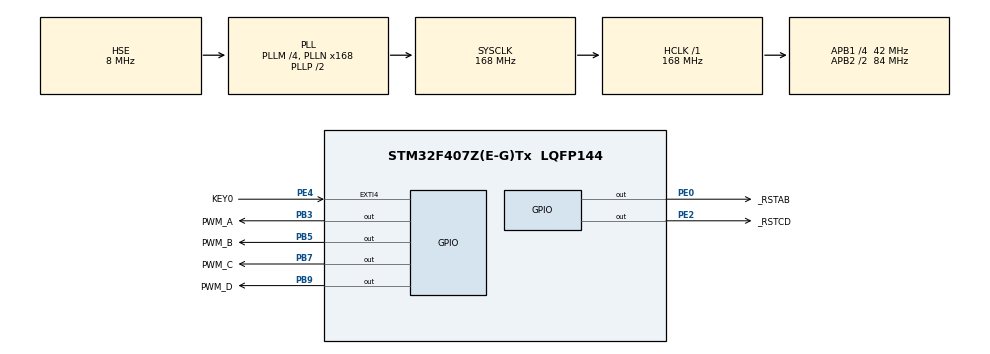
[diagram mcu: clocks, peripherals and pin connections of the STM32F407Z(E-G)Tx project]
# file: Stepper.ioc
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Mcu.Family=STM32F4
Mcu.Name=STM32F407Z(E-G)Tx
Mcu.Package=LQFP144
NVIC.EXTI4_IRQn=true\:1\:0\:true\:false\:true\:true\:true
NVIC.PriorityGroup=NVIC_PRIORITYGROUP_4
NVIC.TIM3_IRQn=true\:2\:0\:true\:false\:true\:true\:true
PB3.GPIO_Label=PWM_A
PB3.GPIO_PuPd=GPIO_NOPULL
PB3.GPIO_Speed=GPIO_SPEED_FREQ_VERY_HIGH
PB3.Signal=GPIO_Output
PB5.GPIO_Label=PWM_B
PB5.GPIO_Speed=GPIO_SPEED_FREQ_VERY_HIGH
PB5.Signal=GPIO_Output
PB7.GPIO_Label=PWM_C
PB7.GPIO_Speed=GPIO_SPEED_FREQ_VERY_HIGH
PB7.Signal=GPIO_Output
PB9.GPIO_Label=PWM_D
PB9.GPIO_Speed=GPIO_SPEED_FREQ_VERY_HIGH
PB9.Signal=GPIO_Output
PC14-OSC32_IN.Mode=LSE-External-Oscillator
PC14-OSC32_IN.Signal=RCC_OSC32_IN
PC15-OSC32_OUT.Mode=LSE-External-Oscillator
PC15-OSC32_OUT.Signal=RCC_OSC32_OUT
PE0.GPIO_Label=_RSTAB
PE0.Signal=GPIO_Output
PE2.GPIO_Label=_RSTCD
PE2.Signal=GPIO_Output
PE4.GPIO_Label=KEY0
PE4.GPIO_ModeDefaultEXTI=GPIO_MODE_IT_FALLING
PE4.GPIO_PuPd=GPIO_PULLUP
PE4.Signal=GPXTI4
PH0-OSC_IN.Mode=HSE-External-Oscillator
PH0-OSC_IN.Signal=RCC_OSC_IN
PH1-OSC_OUT.Mode=HSE-External-Oscillator
PH1-OSC_OUT.Signal=RCC_OSC_OUT
ProjectManager.HeapSize=0x200
ProjectManager.StackSize=0x400
ProjectManager.TargetToolchain=Makefile
RCC.48MHZClocksFreq_Value=84000000
RCC.AHBFreq_Value=168000000
RCC.APB1CLKDivider=RCC_HCLK_DIV4
RCC.APB1Freq_Value=42000000
RCC.APB1TimFreq_Value=84000000
RCC.APB2CLKDivider=RCC_HCLK_DIV2
RCC.APB2Freq_Value=84000000
RCC.APB2TimFreq_Value=168000000
RCC.CortexFreq_Value=168000000
RCC.HCLKFreq_Value=168000000
RCC.HSE_VALUE=8000000
RCC.HSI_VALUE=16000000
RCC.PLLM=4
RCC.PLLN=168
RCC.PLLSourceVirtual=RCC_PLLSOURCE_HSE
RCC.SYSCLKFreq_VALUE=168000000
RCC.SYSCLKSource=RCC_SYSCLKSOURCE_PLLCLK
RCC.VCOOutputFreq_Value=336000000
TIM3.AutoReloadPreload=TIM_AUTORELOAD_PRELOAD_ENABLE
TIM3.Period=199
TIM3.Prescaler=699
VP_TIM3_VS_ClockSourceINT.Mode=Internal
board=custom

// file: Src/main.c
/* USER CODE BEGIN Header */
/**
  ******************************************************************************
  * @file           : main.c
  * @brief          : Main program body
  ******************************************************************************
  * @attention
  *
  * <h2><center>&copy; Copyright (c) 2019 STMicroelectronics.
  * All rights reserved.</center></h2>
  *
  * This software component is licensed by ST under BSD 3-Clause license,
  * the "License"; You may not use this file except in compliance with the
  * License. You may obtain a copy of the License at:
  *                        opensource.org/licenses/BSD-3-Clause
  *
  ******************************************************************************
  */
/* USER CODE END Header */

#include "main.h"

TIM_HandleTypeDef htim3;

void SystemClock_Config(void);
static void MX_GPIO_Init(void);
static void MX_TIM3_Init(void);

int main(void)
{

  /* MCU Configuration--------------------------------------------------------*/

  /* Reset of all peripherals, Initializes the Flash interface and the Systick. */
  HAL_Init();

  /* Configure the system clock */
  SystemClock_Config();

  /* Initialize all configured peripherals */
  MX_GPIO_Init();
  MX_TIM3_Init();
  /* USER CODE BEGIN 2 */

  // Initialize GPIO Pins.
  HAL_GPIO_WritePin(PWM_A_GPIO_Port, PWM_A_Pin, GPIO_PIN_RESET);
  HAL_GPIO_WritePin(PWM_B_GPIO_Port, PWM_B_Pin, GPIO_PIN_RESET);
  HAL_GPIO_WritePin(PWM_C_GPIO_Port, PWM_C_Pin, GPIO_PIN_RESET);
  HAL_GPIO_WritePin(PWM_D_GPIO_Port, PWM_D_Pin, GPIO_PIN_RESET);
  HAL_GPIO_WritePin(_RSTAB_GPIO_Port, _RSTAB_Pin, GPIO_PIN_RESET);
  HAL_GPIO_WritePin(_RSTCD_GPIO_Port, _RSTCD_Pin, GPIO_PIN_RESET);

  /* USER CODE END 2 */

  /* Infinite loop */
  while (1)
  {

  }
}

void SystemClock_Config(void)
{
  RCC_OscInitTypeDef RCC_OscInitStruct = {0};
  RCC_ClkInitTypeDef RCC_ClkInitStruct = {0};

  /** Configure the main internal regulator output voltage
  */
  __HAL_RCC_PWR_CLK_ENABLE();
  __HAL_PWR_VOLTAGESCALING_CONFIG(PWR_REGULATOR_VOLTAGE_SCALE1);
  /** Initializes the CPU, AHB and APB busses clocks
  */
  RCC_OscInitStruct.OscillatorType = RCC_OSCILLATORTYPE_HSE;
  RCC_OscInitStruct.HSEState = RCC_HSE_ON;
  RCC_OscInitStruct.PLL.PLLState = RCC_PLL_ON;
  RCC_OscInitStruct.PLL.PLLSource = RCC_PLLSOURCE_HSE;
  RCC_OscInitStruct.PLL.PLLM = 4;
  RCC_OscInitStruct.PLL.PLLN = 168;
  RCC_OscInitStruct.PLL.PLLP = RCC_PLLP_DIV2;
  RCC_OscInitStruct.PLL.PLLQ = 4;
  if (HAL_RCC_OscConfig(&RCC_OscInitStruct) != HAL_OK)
  {
    Error_Handler();
  }
  /** Initializes the CPU, AHB and APB busses clocks
  */
  RCC_ClkInitStruct.ClockType = RCC_CLOCKTYPE_HCLK|RCC_CLOCKTYPE_SYSCLK
                              |RCC_CLOCKTYPE_PCLK1|RCC_CLOCKTYPE_PCLK2;
  RCC_ClkInitStruct.SYSCLKSource = RCC_SYSCLKSOURCE_PLLCLK;
  RCC_ClkInitStruct.AHBCLKDivider = RCC_SYSCLK_DIV1;
  RCC_ClkInitStruct.APB1CLKDivider = RCC_HCLK_DIV4;
  RCC_ClkInitStruct.APB2CLKDivider = RCC_HCLK_DIV2;

  if (HAL_RCC_ClockConfig(&RCC_ClkInitStruct, FLASH_LATENCY_5) != HAL_OK)
  {
    Error_Handler();
  }
}

static void MX_TIM3_Init(void)
{

  TIM_ClockConfigTypeDef sClockSourceConfig = {0};
  TIM_MasterConfigTypeDef sMasterConfig = {0};

  htim3.Instance = TIM3;
  htim3.Init.Prescaler = 6999;
  htim3.Init.CounterMode = TIM_COUNTERMODE_UP;
  htim3.Init.Period = 7;
  htim3.Init.ClockDivision = TIM_CLOCKDIVISION_DIV1;
  htim3.Init.AutoReloadPreload = TIM_AUTORELOAD_PRELOAD_ENABLE;
  if (HAL_TIM_Base_Init(&htim3) != HAL_OK)
  {
    Error_Handler();
  }
  sClockSourceConfig.ClockSource = TIM_CLOCKSOURCE_INTERNAL;
  if (HAL_TIM_ConfigClockSource(&htim3, &sClockSourceConfig) != HAL_OK)
  {
    Error_Handler();
  }
  sMasterConfig.MasterOutputTrigger = TIM_TRGO_RESET;
  sMasterConfig.MasterSlaveMode = TIM_MASTERSLAVEMODE_DISABLE;
  if (HAL_TIMEx_MasterConfigSynchronization(&htim3, &sMasterConfig) != HAL_OK)
  {
    Error_Handler();
  }
  /* USER CODE BEGIN TIM3_Init 2 */

  // Enable TIM3 interrupt
  HAL_TIM_Base_Start(&htim3);
  HAL_TIM_Base_Start_IT(&htim3);

  /* USER CODE END TIM3_Init 2 */

}

static void MX_GPIO_Init(void)
{
  GPIO_InitTypeDef GPIO_InitStruct = {0};

  /* GPIO Ports Clock Enable */
  __HAL_RCC_GPIOE_CLK_ENABLE();
  __HAL_RCC_GPIOC_CLK_ENABLE();
  __HAL_RCC_GPIOH_CLK_ENABLE();
  __HAL_RCC_GPIOB_CLK_ENABLE();

  /*Configure GPIO pin Output Level */
  HAL_GPIO_WritePin(GPIOE, _RSTCD_Pin|_RSTAB_Pin, GPIO_PIN_RESET);

  /*Configure GPIO pin Output Level */
  HAL_GPIO_WritePin(GPIOB, PWM_A_Pin|PWM_B_Pin|PWM_C_Pin|PWM_D_Pin, GPIO_PIN_RESET);

  /*Configure GPIO pins : _RSTCD_Pin _RSTAB_Pin */
  GPIO_InitStruct.Pin = _RSTCD_Pin|_RSTAB_Pin;
  GPIO_InitStruct.Mode = GPIO_MODE_OUTPUT_PP;
  GPIO_InitStruct.Pull = GPIO_NOPULL;
  GPIO_InitStruct.Speed = GPIO_SPEED_FREQ_LOW;
  HAL_GPIO_Init(GPIOE, &GPIO_InitStruct);

  /*Configure GPIO pin : KEY0_Pin */
  GPIO_InitStruct.Pin = KEY0_Pin;
  GPIO_InitStruct.Mode = GPIO_MODE_IT_FALLING;
  GPIO_InitStruct.Pull = GPIO_PULLUP;
  HAL_GPIO_Init(KEY0_GPIO_Port, &GPIO_InitStruct);

  /*Configure GPIO pins : PWM_A_Pin PWM_B_Pin PWM_C_Pin PWM_D_Pin */
  GPIO_InitStruct.Pin = PWM_A_Pin|PWM_B_Pin|PWM_C_Pin|PWM_D_Pin;
  GPIO_InitStruct.Mode = GPIO_MODE_OUTPUT_PP;
  GPIO_InitStruct.Pull = GPIO_NOPULL;
  GPIO_InitStruct.Speed = GPIO_SPEED_FREQ_VERY_HIGH;
  HAL_GPIO_Init(GPIOB, &GPIO_InitStruct);

  /* EXTI interrupt init*/
  HAL_NVIC_SetPriority(EXTI4_IRQn, 1, 0);
  HAL_NVIC_EnableIRQ(EXTI4_IRQn);

}

/* USER CODE BEGIN 4 */

HAL_GPIO_EXTI_Callback(uint16_t GPIO_Pin)
{
  if (GPIO_Pin == KEY0_Pin)
  {
    // If KEY0 is pushed, the stepper and TIM# will switch their status
    HAL_GPIO_WritePin(_RSTAB_GPIO_Port, _RSTAB_Pin, HAL_GPIO_ReadPin(_RSTAB_GPIO_Port, _RSTAB_Pin) ^ GPIO_PIN_SET);
    HAL_GPIO_WritePin(_RSTCD_GPIO_Port, _RSTCD_Pin, HAL_GPIO_ReadPin(_RSTCD_GPIO_Port, _RSTCD_Pin) ^ GPIO_PIN_SET);
    HAL_GPIO_ReadPin(_RSTAB_GPIO_Port, _RSTAB_Pin) ? HAL_TIM_Base_Start_IT(&htim3) : HAL_TIM_Base_Stop_IT(&htim3);
  }
}

// Record the step sequence of stepper motor, which can be modified.
static uint8_t StepperStatus[4] = {
// PWM_A |  PWM_C |  PWM_B |  PWM_D
  1 << 3 | 0 << 2 | 0 << 1 | 0 << 0,
  0 << 3 | 1 << 2 | 0 << 1 | 0 << 0,
  0 << 3 | 0 << 2 | 1 << 1 | 0 << 0,
  0 << 3 | 0 << 2 | 0 << 1 | 1 << 0,
};

/**
 * @brief  Write the GPIO_Pin according to the step_count.
 *
 * @note   This function can control the DRV8432 to drive the 4 wire 2 phase stepper. I use the
 *         uint8_t array StepperStatus[TOTAL_STEPS] to store the GPIO_PIN_SET/RESET sequence, and
 *         you can modify it to drive more types of chips and motors.
 * @param  step_count: Specifies the next Pin state.
 * @retval None
 */
void GPIO_SetStepperStatus(uint8_t step_count)
{
    HAL_GPIO_WritePin(PWM_A_GPIO_Port, PWM_A_Pin, (StepperStatus[step_count] >> 3) & 1);
    HAL_GPIO_WritePin(PWM_C_GPIO_Port, PWM_C_Pin, (StepperStatus[step_count] >> 2) & 1);
    HAL_GPIO_WritePin(PWM_B_GPIO_Port, PWM_B_Pin, (StepperStatus[step_count] >> 1) & 1);
    HAL_GPIO_WritePin(PWM_D_GPIO_Port, PWM_D_Pin, (StepperStatus[step_count] >> 0) & 1);
}

static uint8_t count = 0;

void HAL_TIM_PeriodElapsedCallback(TIM_HandleTypeDef *htim)
{
  if (htim == (&htim3))
  {
    count++;
    GPIO_SetStepperStatus(count & 0x03);
  }
}

// In memory of my first shanized(单化) STM32 MCU for unknown reasons.

/* USER CODE END 4 */

void Error_Handler(void)
{
}

/************************ (C) COPYRIGHT STMicroelectronics *****END OF FILE****/
